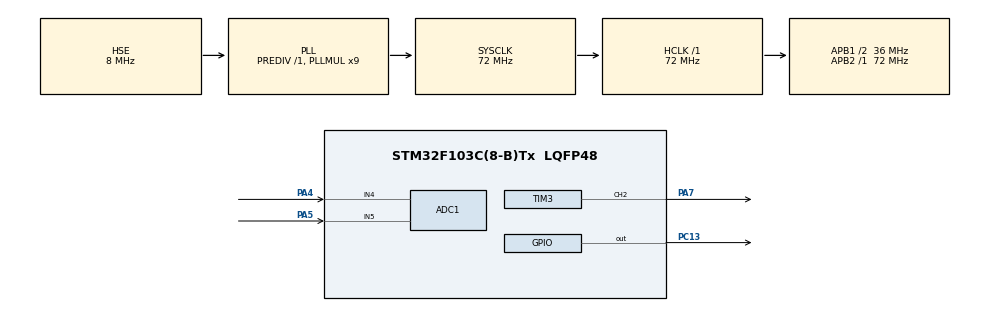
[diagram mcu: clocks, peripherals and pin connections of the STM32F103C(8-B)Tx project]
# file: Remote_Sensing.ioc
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ADC1.Channel-0\#ChannelRegularConversion=ADC_CHANNEL_4
ADC1.Channel-1\#ChannelRegularConversion=ADC_CHANNEL_5
ADC1.DiscontinuousConvMode=ENABLE
ADC1.NbrOfConversion=2
ADC1.NbrOfConversionFlag=1
ADC1.Rank-0\#ChannelRegularConversion=1
ADC1.Rank-1\#ChannelRegularConversion=2
ADC1.SamplingTime-0\#ChannelRegularConversion=ADC_SAMPLETIME_7CYCLES_5
ADC1.SamplingTime-1\#ChannelRegularConversion=ADC_SAMPLETIME_7CYCLES_5
ADC1.master=1
Mcu.Family=STM32F1
Mcu.Name=STM32F103C(8-B)Tx
Mcu.Package=LQFP48
NVIC.PriorityGroup=NVIC_PRIORITYGROUP_4
PA13.Mode=Serial_Wire
PA13.Signal=SYS_JTMS-SWDIO
PA14.Mode=Serial_Wire
PA14.Signal=SYS_JTCK-SWCLK
PA4.Signal=ADCx_IN4
PA5.Signal=ADCx_IN5
PA7.Signal=S_TIM3_CH2
PC13-TAMPER-RTC.Signal=GPIO_Output
PD0-OSC_IN.Mode=HSE-External-Oscillator
PD0-OSC_IN.Signal=RCC_OSC_IN
PD1-OSC_OUT.Mode=HSE-External-Oscillator
PD1-OSC_OUT.Signal=RCC_OSC_OUT
ProjectManager.HeapSize=0x200
ProjectManager.StackSize=0x400
ProjectManager.TargetToolchain=Makefile
RCC.ADCPresc=RCC_ADCPCLK2_DIV6
RCC.AHBFreq_Value=72000000
RCC.APB1CLKDivider=RCC_HCLK_DIV2
RCC.APB1Freq_Value=36000000
RCC.APB1TimFreq_Value=72000000
RCC.APB2Freq_Value=72000000
RCC.APB2TimFreq_Value=72000000
RCC.HCLKFreq_Value=72000000
RCC.PLLMUL=RCC_PLL_MUL9
RCC.PLLSourceVirtual=RCC_PLLSOURCE_HSE
RCC.SYSCLKFreq_VALUE=72000000
RCC.SYSCLKSource=RCC_SYSCLKSOURCE_PLLCLK
RCC.USBFreq_Value=72000000
SH.ADCx_IN4.0=ADC1_IN4,IN4
SH.ADCx_IN5.0=ADC1_IN5,IN5
SH.S_TIM3_CH2.0=TIM3_CH2,PWM Generation2 CH2
TIM3.Channel-PWM\ Generation2\ CH2=TIM_CHANNEL_2
TIM3.Period=20000-1
TIM3.Prescaler=72-1
VP_TIM3_VS_ClockSourceINT.Mode=Internal
board=custom

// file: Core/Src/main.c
/* USER CODE BEGIN Header */
/**
  ******************************************************************************
  * @file           : main.c
  * @brief          : Main program body
  ******************************************************************************
  * @attention
  *
  * Copyright (c) 2026 STMicroelectronics.
  * All rights reserved.
  *
  * This software is licensed under terms that can be found in the LICENSE file
  * in the root directory of this software component.
  * If no LICENSE file comes with this software, it is provided AS-IS.
  *
  ******************************************************************************
  */
/* USER CODE END Header */
#include "main.h"
#include "adc.h"
#include "tim.h"
#include "gpio.h"

/* USER CODE BEGIN PV */
uint16_t ADC_Value[2];  //ADC转换数据
float Voltage_Value[2];  //电压值，单位V
volatile uint32_t s_loopCnt = 0;  //心跳计数：Live Watch里看它跳 = 程序活着
uint16_t adc_center=2048;  //ADC中值
/* USER CODE END PV */

void SystemClock_Config(void);

int main(void)
{

  /* MCU Configuration--------------------------------------------------------*/

  /* Reset of all peripherals, Initializes the Flash interface and the Systick. */
  HAL_Init();

  /* Configure the system clock */
  SystemClock_Config();

  /* Initialize all configured peripherals */
  MX_GPIO_Init();
  MX_ADC1_Init();
  MX_TIM3_Init();
  /* USER CODE BEGIN 2 */
HAL_ADCEx_Calibration_Start(&hadc1);  //AD校准
HAL_TIM_PWM_Start(&htim3, TIM_CHANNEL_2);
__HAL_TIM_SET_COMPARE(&htim3, TIM_CHANNEL_2, 500);  //设置PWM占空比为2.5%
HAL_Delay(1500);
__HAL_TIM_SET_COMPARE(&htim3, TIM_CHANNEL_2,1500);
HAL_Delay(1500);
__HAL_TIM_SET_COMPARE(&htim3, TIM_CHANNEL_2,2000);
  /* USER CODE END 2 */

  /* Infinite loop */
  while (1)
  {

    /* USER CODE BEGIN 3 */
    s_loopCnt++;  //心跳：Live Watch里不�?? = 程序没在�??
    uint32_t sum=0;
    for(int j=0;j<8;j++)
    {
      if(HAL_ADC_Start(&hadc1) == HAL_OK&&HAL_ADC_PollForConversion(&hadc1, 10) == HAL_OK)  //启动ADC
      {
       sum+=HAL_ADC_GetValue(&hadc1);  //获取ADC值
      }
      HAL_Delay(2);  //延时2ms，等待ADC稳定
    }

    uint16_t adc_filtered=sum/8;  //取平均值
    Voltage_Value[0]=adc_filtered*3.3f/4095.0f;  //计算电压值，单位V
    if(adc_filtered>adc_center+30||adc_filtered<adc_center-30)  //如果偏离中值超过30，则认为有偏差
    {
      uint32_t pulse=500+(uint32_t)adc_filtered*2000/4095;  //计算PWM占空比，范围500~2500
       if(pulse<500)pulse=500;//下限
    if(pulse>2500)pulse=2500;//上限
    __HAL_TIM_SET_COMPARE(&htim3, TIM_CHANNEL_2,pulse);//设置
    }

    HAL_Delay(15);
  }
  /* USER CODE END 3 */
}

void SystemClock_Config(void)
{
  RCC_OscInitTypeDef RCC_OscInitStruct = {0};
  RCC_ClkInitTypeDef RCC_ClkInitStruct = {0};
  RCC_PeriphCLKInitTypeDef PeriphClkInit = {0};

  /** Initializes the RCC Oscillators according to the specified parameters
  * in the RCC_OscInitTypeDef structure.
  */
  RCC_OscInitStruct.OscillatorType = RCC_OSCILLATORTYPE_HSE;
  RCC_OscInitStruct.HSEState = RCC_HSE_ON;
  RCC_OscInitStruct.HSEPredivValue = RCC_HSE_PREDIV_DIV1;
  RCC_OscInitStruct.HSIState = RCC_HSI_ON;
  RCC_OscInitStruct.PLL.PLLState = RCC_PLL_ON;
  RCC_OscInitStruct.PLL.PLLSource = RCC_PLLSOURCE_HSE;
  RCC_OscInitStruct.PLL.PLLMUL = RCC_PLL_MUL9;
  if (HAL_RCC_OscConfig(&RCC_OscInitStruct) != HAL_OK)
  {
    Error_Handler();
  }

  /** Initializes the CPU, AHB and APB buses clocks
  */
  RCC_ClkInitStruct.ClockType = RCC_CLOCKTYPE_HCLK|RCC_CLOCKTYPE_SYSCLK
                              |RCC_CLOCKTYPE_PCLK1|RCC_CLOCKTYPE_PCLK2;
  RCC_ClkInitStruct.SYSCLKSource = RCC_SYSCLKSOURCE_PLLCLK;
  RCC_ClkInitStruct.AHBCLKDivider = RCC_SYSCLK_DIV1;
  RCC_ClkInitStruct.APB1CLKDivider = RCC_HCLK_DIV2;
  RCC_ClkInitStruct.APB2CLKDivider = RCC_HCLK_DIV1;

  if (HAL_RCC_ClockConfig(&RCC_ClkInitStruct, FLASH_LATENCY_2) != HAL_OK)
  {
    Error_Handler();
  }
  PeriphClkInit.PeriphClockSelection = RCC_PERIPHCLK_ADC;
  PeriphClkInit.AdcClockSelection = RCC_ADCPCLK2_DIV6;
  if (HAL_RCCEx_PeriphCLKConfig(&PeriphClkInit) != HAL_OK)
  {
    Error_Handler();
  }
}

void Error_Handler(void)
{
  __disable_irq();
  while (1)
  {
  }
}
